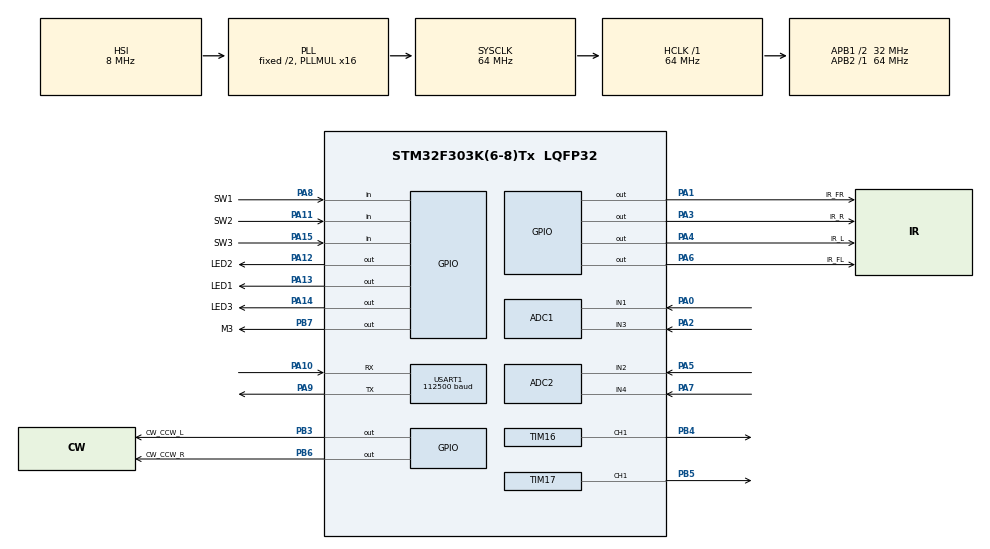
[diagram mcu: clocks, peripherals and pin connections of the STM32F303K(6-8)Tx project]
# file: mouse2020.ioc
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ADC1.Channel-0\#ChannelRegularConversion=ADC_CHANNEL_1
ADC1.EnableInjectedConversion=DISABLE
ADC1.NbrOfConversionFlag=1
ADC1.Offset-0\#ChannelRegularConversion=0
ADC1.OffsetNumber-0\#ChannelRegularConversion=ADC_OFFSET_NONE
ADC1.Rank-0\#ChannelRegularConversion=1
ADC1.SamplingTime-0\#ChannelRegularConversion=ADC_SAMPLETIME_1CYCLE_5
ADC1.SubFamily=STM32F303x8
ADC1.master=1
ADC2.Channel-0\#ChannelRegularConversion=ADC_CHANNEL_2
ADC2.EnableInjectedConversion=DISABLE
ADC2.NbrOfConversionFlag=1
ADC2.Offset-0\#ChannelRegularConversion=0
ADC2.OffsetNumber-0\#ChannelRegularConversion=ADC_OFFSET_NONE
ADC2.Rank-0\#ChannelRegularConversion=1
ADC2.SamplingTime-0\#ChannelRegularConversion=ADC_SAMPLETIME_1CYCLE_5
ADC2.SubFamily=STM32F303x8
Mcu.Family=STM32F3
Mcu.Name=STM32F303K(6-8)Tx
Mcu.Package=LQFP32
NVIC.PriorityGroup=NVIC_PRIORITYGROUP_4
NVIC.TIM1_TRG_COM_TIM17_IRQn=true\:0\:0\:false\:false\:true\:true\:true
NVIC.TIM1_UP_TIM16_IRQn=true\:0\:0\:false\:false\:true\:true\:true
NVIC.TIM6_DAC1_IRQn=true\:0\:0\:false\:false\:true\:true\:true
PA0.Mode=IN1-Single-Ended
PA0.Signal=ADC1_IN1
PA1.GPIO_Label=IR_FR
PA1.Signal=GPIO_Output
PA10.Mode=Asynchronous
PA10.Signal=USART1_RX
PA11.GPIO_Label=SW2
PA11.GPIO_PuPd=GPIO_PULLUP
PA11.Signal=GPIO_Input
PA12.GPIO_Label=LED2
PA12.Signal=GPIO_Output
PA13.GPIO_Label=LED1
PA13.Signal=GPIO_Output
PA14.GPIO_Label=LED3
PA14.Signal=GPIO_Output
PA15.GPIO_Label=SW3
PA15.GPIO_PuPd=GPIO_PULLUP
PA15.Signal=GPIO_Input
PA2.Mode=IN3-Single-Ended
PA2.Signal=ADC1_IN3
PA3.GPIO_Label=IR_R
PA3.Signal=GPIO_Output
PA4.GPIO_Label=IR_L
PA4.Signal=GPIO_Output
PA5.Mode=IN2-Single-Ended
PA5.Signal=ADC2_IN2
PA6.GPIO_Label=IR_FL
PA6.Signal=GPIO_Output
PA7.Mode=IN4-Single-Ended
PA7.Signal=ADC2_IN4
PA8.GPIO_Label=SW1
PA8.GPIO_PuPd=GPIO_PULLUP
PA8.Signal=GPIO_Input
PA9.Mode=Asynchronous
PA9.Signal=USART1_TX
PB3.GPIO_Label=CW_CCW_L
PB3.Signal=GPIO_Output
PB4.Signal=S_TIM16_CH1
PB5.Signal=S_TIM17_CH1
PB6.GPIO_Label=CW_CCW_R
PB6.Signal=GPIO_Output
PB7.GPIO_Label=M3
PB7.Signal=GPIO_Output
ProjectManager.HeapSize=0x200
ProjectManager.StackSize=0x400
ProjectManager.TargetToolchain=Makefile
RCC.AHBFreq_Value=64000000
RCC.APB1CLKDivider=RCC_HCLK_DIV2
RCC.APB1Freq_Value=32000000
RCC.APB1TimFreq_Value=64000000
RCC.APB2Freq_Value=64000000
RCC.APB2TimFreq_Value=64000000
RCC.CortexFreq_Value=64000000
RCC.HCLKFreq_Value=64000000
RCC.HSE_VALUE=8000000
RCC.HSI_VALUE=8000000
RCC.PLLMUL=RCC_PLL_MUL16
RCC.SYSCLKFreq_VALUE=64000000
RCC.SYSCLKSourceVirtual=RCC_SYSCLKSOURCE_PLLCLK
SH.S_TIM16_CH1.0=TIM16_CH1,PWM Generation1 CH1
SH.S_TIM17_CH1.0=TIM17_CH1,PWM Generation1 CH1
TIM16.Channel=TIM_CHANNEL_1
TIM16.Prescaler=64-1
TIM16.Pulse=25
TIM17.Channel=TIM_CHANNEL_1
TIM17.Prescaler=64-1
TIM17.Pulse=25
TIM6.Period=4000
TIM6.Prescaler=64-1
USART1.BaudRate=112500
USART1.VirtualMode-Asynchronous=VM_ASYNC
VP_TIM16_VS_ClockSourceINT.Mode=Enable_Timer
VP_TIM17_VS_ClockSourceINT.Mode=Enable_Timer
VP_TIM6_VS_ClockSourceINT.Mode=Enable_Timer
board=custom

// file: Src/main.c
/* USER CODE BEGIN Header */

/************************************************************
 WMMC Micromouse 標準プログラム 2020
 2007~2012     H8/3694f版が運用される
 2013/03/01    LPC向けに移植 by 長谷川 健人
 2013/09/20    標準化のため色々弄る by 高橋 有礼
 2017/11/12    STM32向けに移植
 2019/05/01    STM32/CubeHAL向けに移植
 ************************************************************/

/**
 ******************************************************************************
 * @file           : main.c
 * @brief          : Main program body
 ******************************************************************************
 * @attention
 *
 * <h2><center>&copy; Copyright (c) 2019 STMicroelectronics.
 * All rights reserved.</center></h2>
 *
 * This software component is licensed by ST under BSD 3-Clause license,
 * the "License"; You may not use this file except in compliance with the
 * License. You may obtain a copy of the License at:
 *                        opensource.org/licenses/BSD-3-Clause
 *
 ******************************************************************************
 */
/* USER CODE END Header */

#include "main.h"

/* USER CODE BEGIN Includes */

#define MAIN_C_
#include "global.h"

/* USER CODE END Includes */

ADC_HandleTypeDef hadc1;
ADC_HandleTypeDef hadc2;

TIM_HandleTypeDef htim6;
TIM_HandleTypeDef htim16;
TIM_HandleTypeDef htim17;

UART_HandleTypeDef huart1;

void SystemClock_Config(void);
static void MX_GPIO_Init(void);
static void MX_ADC1_Init(void);
static void MX_ADC2_Init(void);
static void MX_USART1_UART_Init(void);
static void MX_TIM16_Init(void);
static void MX_TIM17_Init(void);
static void MX_TIM6_Init(void);

int main(void) {

    /* MCU
     * Configuration--------------------------------------------------------*/

    /* Reset of all peripherals, Initializes the Flash interface and the
     * Systick. */
    HAL_Init();

    /* Configure the system clock */
    SystemClock_Config();

    /* Initialize all configured peripherals */
    MX_GPIO_Init();
    MX_ADC1_Init();
    MX_ADC2_Init();
    MX_USART1_UART_Init();
    MX_TIM16_Init();
    MX_TIM17_Init();
    MX_TIM6_Init();
    /* USER CODE BEGIN 2 */

    setbuf(stdout, NULL); // printf用
    sensor_init(); //センサ系の変数の初期化，ADコンバータの設定とセンサ値取得に使用するタイマの設定．sensor.c
                   //で定義されている
    drive_init(); //走行系の変数の初期化，モーター関係のGPIO設定とPWM出力に使うタイマの設定．drive.c
                  //で定義されている
    search_init(); //探索系の変数の初期化，search.c で定義されている

    printf("***** WMMC Mouse 2020 *****\n");

    /* USER CODE END 2 */

    /* Infinite loop */
    /* USER CODE BEGIN WHILE */

    int mode = 0;

    while(1) {
        //====モード選択====
        mode = select_mode(mode); // select_mode は auxiliary.c
                                  // で定義されている

        //----選択項目の実行----
        switch(mode) {
        case 0:
            //----基準値を取る----
            printf("Get Base Value.\n");
            get_base(); //壁制御のための基準値取得，sensor.c
                        //で定義されている
            break;

        case 1:
            //----一次探索走行（連続走行）----
            printf("First Run. (Continuous)\n");
            searchB_run(1);
            break;

        case 2:
            //----一次探索走行（スラローム連続走行）----
            printf("First Run. (Slalom)\n");
            searchC_run(1);
            break;

        case 3:
            //----二次探索走行単体（スラローム連続走行）----
            printf("Second Run. Only. (Slalom)\n");
            searchC_run_second();
            break;

        case 4:
            break;

        case 5:
            break;

        case 6:
            //----テスト走行----
            printf("Test Run.\n");
            test_run(); // test_run(); は drive.c で定義されている
            break;

        case 7:
            //----センサチェック----
            printf("Sensor Check.\n");
            sensor_check();
            break;
        }

        /* USER CODE END WHILE */

    }
}

void SystemClock_Config(void) {
    RCC_OscInitTypeDef RCC_OscInitStruct = {0};
    RCC_ClkInitTypeDef RCC_ClkInitStruct = {0};
    RCC_PeriphCLKInitTypeDef PeriphClkInit = {0};

    /** Initializes the CPU, AHB and APB busses clocks
     */
    RCC_OscInitStruct.OscillatorType = RCC_OSCILLATORTYPE_HSI;
    RCC_OscInitStruct.HSIState = RCC_HSI_ON;
    RCC_OscInitStruct.HSICalibrationValue = RCC_HSICALIBRATION_DEFAULT;
    RCC_OscInitStruct.PLL.PLLState = RCC_PLL_ON;
    RCC_OscInitStruct.PLL.PLLSource = RCC_PLLSOURCE_HSI;
    RCC_OscInitStruct.PLL.PLLMUL = RCC_PLL_MUL16;
    if(HAL_RCC_OscConfig(&RCC_OscInitStruct) != HAL_OK) {
        Error_Handler();
    }
    /** Initializes the CPU, AHB and APB busses clocks
     */
    RCC_ClkInitStruct.ClockType = RCC_CLOCKTYPE_HCLK | RCC_CLOCKTYPE_SYSCLK |
                                  RCC_CLOCKTYPE_PCLK1 | RCC_CLOCKTYPE_PCLK2;
    RCC_ClkInitStruct.SYSCLKSource = RCC_SYSCLKSOURCE_PLLCLK;
    RCC_ClkInitStruct.AHBCLKDivider = RCC_SYSCLK_DIV1;
    RCC_ClkInitStruct.APB1CLKDivider = RCC_HCLK_DIV2;
    RCC_ClkInitStruct.APB2CLKDivider = RCC_HCLK_DIV1;

    if(HAL_RCC_ClockConfig(&RCC_ClkInitStruct, FLASH_LATENCY_2) != HAL_OK) {
        Error_Handler();
    }
    PeriphClkInit.PeriphClockSelection =
        RCC_PERIPHCLK_USART1 | RCC_PERIPHCLK_ADC12;
    PeriphClkInit.Usart1ClockSelection = RCC_USART1CLKSOURCE_PCLK1;
    PeriphClkInit.Adc12ClockSelection = RCC_ADC12PLLCLK_DIV1;
    if(HAL_RCCEx_PeriphCLKConfig(&PeriphClkInit) != HAL_OK) {
        Error_Handler();
    }
}

static void MX_ADC1_Init(void) {

    ADC_MultiModeTypeDef multimode = {0};
    ADC_ChannelConfTypeDef sConfig = {0};

    /** Common config
     */
    hadc1.Instance = ADC1;
    hadc1.Init.ClockPrescaler = ADC_CLOCK_ASYNC_DIV1;
    hadc1.Init.Resolution = ADC_RESOLUTION_12B;
    hadc1.Init.ScanConvMode = ADC_SCAN_DISABLE;
    hadc1.Init.ContinuousConvMode = DISABLE;
    hadc1.Init.DiscontinuousConvMode = DISABLE;
    hadc1.Init.ExternalTrigConvEdge = ADC_EXTERNALTRIGCONVEDGE_NONE;
    hadc1.Init.ExternalTrigConv = ADC_SOFTWARE_START;
    hadc1.Init.DataAlign = ADC_DATAALIGN_RIGHT;
    hadc1.Init.NbrOfConversion = 1;
    hadc1.Init.DMAContinuousRequests = DISABLE;
    hadc1.Init.EOCSelection = ADC_EOC_SINGLE_CONV;
    hadc1.Init.LowPowerAutoWait = DISABLE;
    hadc1.Init.Overrun = ADC_OVR_DATA_OVERWRITTEN;
    if(HAL_ADC_Init(&hadc1) != HAL_OK) {
        Error_Handler();
    }
    /** Configure the ADC multi-mode
     */
    multimode.Mode = ADC_MODE_INDEPENDENT;
    if(HAL_ADCEx_MultiModeConfigChannel(&hadc1, &multimode) != HAL_OK) {
        Error_Handler();
    }
    /** Configure Regular Channel
     */
    sConfig.Channel = ADC_CHANNEL_1;
    sConfig.Rank = ADC_REGULAR_RANK_1;
    sConfig.SingleDiff = ADC_SINGLE_ENDED;
    sConfig.SamplingTime = ADC_SAMPLETIME_1CYCLE_5;
    sConfig.OffsetNumber = ADC_OFFSET_NONE;
    sConfig.Offset = 0;
    if(HAL_ADC_ConfigChannel(&hadc1, &sConfig) != HAL_OK) {
        Error_Handler();
    }
}

static void MX_ADC2_Init(void) {

    ADC_ChannelConfTypeDef sConfig = {0};

    /** Common config
     */
    hadc2.Instance = ADC2;
    hadc2.Init.ClockPrescaler = ADC_CLOCK_ASYNC_DIV1;
    hadc2.Init.Resolution = ADC_RESOLUTION_12B;
    hadc2.Init.ScanConvMode = ADC_SCAN_DISABLE;
    hadc2.Init.ContinuousConvMode = DISABLE;
    hadc2.Init.DiscontinuousConvMode = DISABLE;
    hadc2.Init.ExternalTrigConvEdge = ADC_EXTERNALTRIGCONVEDGE_NONE;
    hadc2.Init.ExternalTrigConv = ADC_SOFTWARE_START;
    hadc2.Init.DataAlign = ADC_DATAALIGN_RIGHT;
    hadc2.Init.NbrOfConversion = 1;
    hadc2.Init.DMAContinuousRequests = DISABLE;
    hadc2.Init.EOCSelection = ADC_EOC_SINGLE_CONV;
    hadc2.Init.LowPowerAutoWait = DISABLE;
    hadc2.Init.Overrun = ADC_OVR_DATA_OVERWRITTEN;
    if(HAL_ADC_Init(&hadc2) != HAL_OK) {
        Error_Handler();
    }
    /** Configure Regular Channel
     */
    sConfig.Channel = ADC_CHANNEL_2;
    sConfig.Rank = ADC_REGULAR_RANK_1;
    sConfig.SingleDiff = ADC_SINGLE_ENDED;
    sConfig.SamplingTime = ADC_SAMPLETIME_1CYCLE_5;
    sConfig.OffsetNumber = ADC_OFFSET_NONE;
    sConfig.Offset = 0;
    if(HAL_ADC_ConfigChannel(&hadc2, &sConfig) != HAL_OK) {
        Error_Handler();
    }
}

static void MX_TIM6_Init(void) {

    TIM_MasterConfigTypeDef sMasterConfig = {0};

    htim6.Instance = TIM6;
    htim6.Init.Prescaler = 64 - 1;
    htim6.Init.CounterMode = TIM_COUNTERMODE_UP;
    htim6.Init.Period = 4000;
    htim6.Init.AutoReloadPreload = TIM_AUTORELOAD_PRELOAD_DISABLE;
    if(HAL_TIM_Base_Init(&htim6) != HAL_OK) {
        Error_Handler();
    }
    sMasterConfig.MasterOutputTrigger = TIM_TRGO_RESET;
    sMasterConfig.MasterSlaveMode = TIM_MASTERSLAVEMODE_DISABLE;
    if(HAL_TIMEx_MasterConfigSynchronization(&htim6, &sMasterConfig) !=
       HAL_OK) {
        Error_Handler();
    }
}

static void MX_TIM16_Init(void) {

    TIM_OC_InitTypeDef sConfigOC = {0};
    TIM_BreakDeadTimeConfigTypeDef sBreakDeadTimeConfig = {0};

    htim16.Instance = TIM16;
    htim16.Init.Prescaler = 64 - 1;
    htim16.Init.CounterMode = TIM_COUNTERMODE_UP;
    htim16.Init.Period = 0;
    htim16.Init.ClockDivision = TIM_CLOCKDIVISION_DIV1;
    htim16.Init.RepetitionCounter = 0;
    htim16.Init.AutoReloadPreload = TIM_AUTORELOAD_PRELOAD_DISABLE;
    if(HAL_TIM_Base_Init(&htim16) != HAL_OK) {
        Error_Handler();
    }
    if(HAL_TIM_PWM_Init(&htim16) != HAL_OK) {
        Error_Handler();
    }
    sConfigOC.OCMode = TIM_OCMODE_PWM1;
    sConfigOC.Pulse = 25;
    sConfigOC.OCPolarity = TIM_OCPOLARITY_HIGH;
    sConfigOC.OCNPolarity = TIM_OCNPOLARITY_HIGH;
    sConfigOC.OCFastMode = TIM_OCFAST_DISABLE;
    sConfigOC.OCIdleState = TIM_OCIDLESTATE_RESET;
    sConfigOC.OCNIdleState = TIM_OCNIDLESTATE_RESET;
    if(HAL_TIM_PWM_ConfigChannel(&htim16, &sConfigOC, TIM_CHANNEL_1) !=
       HAL_OK) {
        Error_Handler();
    }
    sBreakDeadTimeConfig.OffStateRunMode = TIM_OSSR_DISABLE;
    sBreakDeadTimeConfig.OffStateIDLEMode = TIM_OSSI_DISABLE;
    sBreakDeadTimeConfig.LockLevel = TIM_LOCKLEVEL_OFF;
    sBreakDeadTimeConfig.DeadTime = 0;
    sBreakDeadTimeConfig.BreakState = TIM_BREAK_DISABLE;
    sBreakDeadTimeConfig.BreakPolarity = TIM_BREAKPOLARITY_HIGH;
    sBreakDeadTimeConfig.BreakFilter = 0;
    sBreakDeadTimeConfig.AutomaticOutput = TIM_AUTOMATICOUTPUT_DISABLE;
    if(HAL_TIMEx_ConfigBreakDeadTime(&htim16, &sBreakDeadTimeConfig) !=
       HAL_OK) {
        Error_Handler();
    }
    HAL_TIM_MspPostInit(&htim16);
}

static void MX_TIM17_Init(void) {

    TIM_OC_InitTypeDef sConfigOC = {0};
    TIM_BreakDeadTimeConfigTypeDef sBreakDeadTimeConfig = {0};

    htim17.Instance = TIM17;
    htim17.Init.Prescaler = 64 - 1;
    htim17.Init.CounterMode = TIM_COUNTERMODE_UP;
    htim17.Init.Period = 0;
    htim17.Init.ClockDivision = TIM_CLOCKDIVISION_DIV1;
    htim17.Init.RepetitionCounter = 0;
    htim17.Init.AutoReloadPreload = TIM_AUTORELOAD_PRELOAD_DISABLE;
    if(HAL_TIM_Base_Init(&htim17) != HAL_OK) {
        Error_Handler();
    }
    if(HAL_TIM_PWM_Init(&htim17) != HAL_OK) {
        Error_Handler();
    }
    sConfigOC.OCMode = TIM_OCMODE_PWM1;
    sConfigOC.Pulse = 25;
    sConfigOC.OCPolarity = TIM_OCPOLARITY_HIGH;
    sConfigOC.OCNPolarity = TIM_OCNPOLARITY_HIGH;
    sConfigOC.OCFastMode = TIM_OCFAST_DISABLE;
    sConfigOC.OCIdleState = TIM_OCIDLESTATE_RESET;
    sConfigOC.OCNIdleState = TIM_OCNIDLESTATE_RESET;
    if(HAL_TIM_PWM_ConfigChannel(&htim17, &sConfigOC, TIM_CHANNEL_1) !=
       HAL_OK) {
        Error_Handler();
    }
    sBreakDeadTimeConfig.OffStateRunMode = TIM_OSSR_DISABLE;
    sBreakDeadTimeConfig.OffStateIDLEMode = TIM_OSSI_DISABLE;
    sBreakDeadTimeConfig.LockLevel = TIM_LOCKLEVEL_OFF;
    sBreakDeadTimeConfig.DeadTime = 0;
    sBreakDeadTimeConfig.BreakState = TIM_BREAK_DISABLE;
    sBreakDeadTimeConfig.BreakPolarity = TIM_BREAKPOLARITY_HIGH;
    sBreakDeadTimeConfig.BreakFilter = 0;
    sBreakDeadTimeConfig.AutomaticOutput = TIM_AUTOMATICOUTPUT_DISABLE;
    if(HAL_TIMEx_ConfigBreakDeadTime(&htim17, &sBreakDeadTimeConfig) !=
       HAL_OK) {
        Error_Handler();
    }
    HAL_TIM_MspPostInit(&htim17);
}

static void MX_USART1_UART_Init(void) {

    huart1.Instance = USART1;
    huart1.Init.BaudRate = 112500;
    huart1.Init.WordLength = UART_WORDLENGTH_8B;
    huart1.Init.StopBits = UART_STOPBITS_1;
    huart1.Init.Parity = UART_PARITY_NONE;
    huart1.Init.Mode = UART_MODE_TX_RX;
    huart1.Init.HwFlowCtl = UART_HWCONTROL_NONE;
    huart1.Init.OverSampling = UART_OVERSAMPLING_16;
    huart1.Init.OneBitSampling = UART_ONE_BIT_SAMPLE_DISABLE;
    huart1.AdvancedInit.AdvFeatureInit = UART_ADVFEATURE_NO_INIT;
    if(HAL_UART_Init(&huart1) != HAL_OK) {
        Error_Handler();
    }
}

static void MX_GPIO_Init(void) {
    GPIO_InitTypeDef GPIO_InitStruct = {0};

    /* GPIO Ports Clock Enable */
    __HAL_RCC_GPIOA_CLK_ENABLE();
    __HAL_RCC_GPIOB_CLK_ENABLE();

    /*Configure GPIO pin Output Level */
    HAL_GPIO_WritePin(GPIOA,
                      IR_FR_Pin | IR_R_Pin | IR_L_Pin | IR_FL_Pin | LED2_Pin |
                          LED1_Pin | LED3_Pin,
                      GPIO_PIN_RESET);

    /*Configure GPIO pin Output Level */
    HAL_GPIO_WritePin(GPIOB, CW_CCW_L_Pin | CW_CCW_R_Pin | M3_Pin,
                      GPIO_PIN_RESET);

    /*Configure GPIO pins : IR_FR_Pin IR_R_Pin IR_L_Pin IR_FL_Pin
                             LED2_Pin LED1_Pin LED3_Pin */
    GPIO_InitStruct.Pin = IR_FR_Pin | IR_R_Pin | IR_L_Pin | IR_FL_Pin |
                          LED2_Pin | LED1_Pin | LED3_Pin;
    GPIO_InitStruct.Mode = GPIO_MODE_OUTPUT_PP;
    GPIO_InitStruct.Pull = GPIO_NOPULL;
    GPIO_InitStruct.Speed = GPIO_SPEED_FREQ_LOW;
    HAL_GPIO_Init(GPIOA, &GPIO_InitStruct);

    /*Configure GPIO pins : SW1_Pin SW2_Pin SW3_Pin */
    GPIO_InitStruct.Pin = SW1_Pin | SW2_Pin | SW3_Pin;
    GPIO_InitStruct.Mode = GPIO_MODE_INPUT;
    GPIO_InitStruct.Pull = GPIO_PULLUP;
    HAL_GPIO_Init(GPIOA, &GPIO_InitStruct);

    /*Configure GPIO pins : CW_CCW_L_Pin CW_CCW_R_Pin M3_Pin */
    GPIO_InitStruct.Pin = CW_CCW_L_Pin | CW_CCW_R_Pin | M3_Pin;
    GPIO_InitStruct.Mode = GPIO_MODE_OUTPUT_PP;
    GPIO_InitStruct.Pull = GPIO_NOPULL;
    GPIO_InitStruct.Speed = GPIO_SPEED_FREQ_LOW;
    HAL_GPIO_Init(GPIOB, &GPIO_InitStruct);
}

void Error_Handler(void) {
    /* USER CODE BEGIN Error_Handler_Debug */
    /* User can add his own implementation to report the HAL error return state
     */

    /* USER CODE END Error_Handler_Debug */
}

#ifdef USE_FULL_ASSERT
/**
 * @brief  Reports the name of the source file and the source line number
 *         where the assert_param error has occurred.
 * @param  file: pointer to the source file name
 * @param  line: assert_param error line source number
 * @retval None
 */
void assert_failed(char *file, uint32_t line) {
    /* USER CODE BEGIN 6 */
    /* User can add his own implementation to report the file name and line
       number, tex: printf("Wrong parameters value: file %s on line %d\r\n",
       file, line) */
    /* USER CODE END 6 */
}
#endif /* USE_FULL_ASSERT */

/************************ (C) COPYRIGHT STMicroelectronics *****END OF FILE****/
